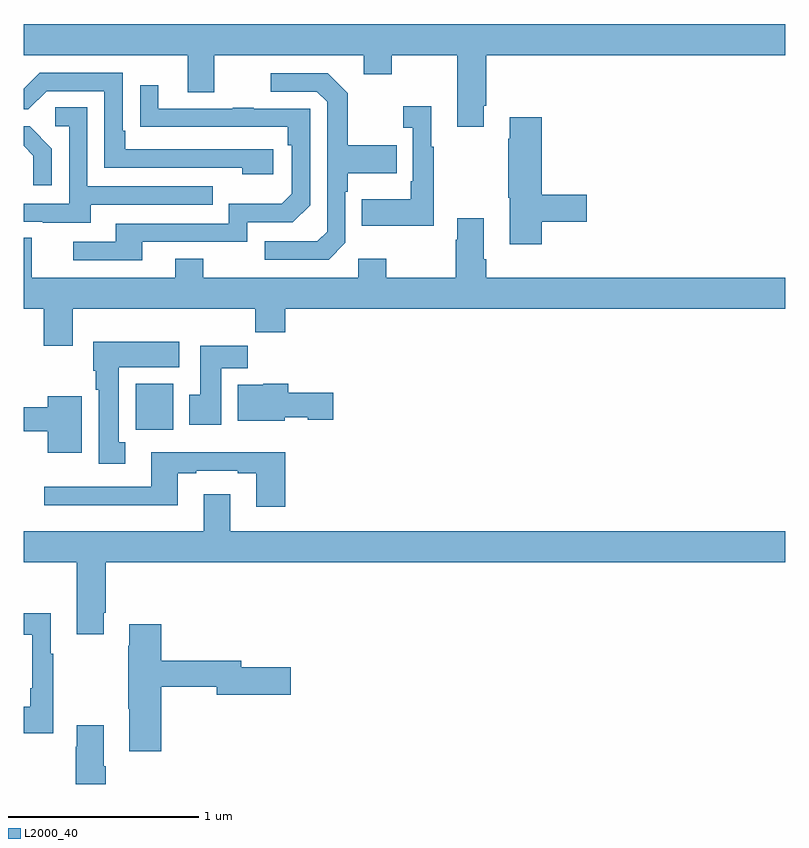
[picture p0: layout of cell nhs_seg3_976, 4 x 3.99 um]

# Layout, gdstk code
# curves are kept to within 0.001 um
import gdstk
lib = gdstk.Library(unit=1e-6, precision=1e-09)
def R(c, l, rs):  # rectangles x0, y0, x1, y1
    for r in rs: c.add(gdstk.rectangle(r[:2], r[2:], *l))
def P(c, l, *ps):  # polygons
    for p in ps: c.add(gdstk.Polygon(p, *l))
L2000_40 = (2000, 40)

nhs_seg3_976 = lib.new_cell('nhs_seg3_976')
R(nhs_seg3_976, L2000_40, [(161.588,720.26,161.785,720.502)])
P(nhs_seg3_976, L2000_40, [(163.417,721.963),(163.43,721.963),(163.43,722.228),(165,722.228),(165,722.392),(161,722.392),(161,722.228),(161.861,722.228),(161.861,722.034),(162.001,722.034),(162.001,722.228),(162.785,722.228),(162.785,722.129),(162.933,722.129),(162.933,722.228),(163.277,722.228),(163.277,721.851),(163.417,721.851)],
  [(162.31,721.734),(161.533,721.734),(161.533,721.831),(161.52,721.831),(161.52,722.136),(161.085,722.136),(161,722.051),(161,721.944),(161.025,721.944),(161.121,722.04),(161.424,722.04),(161.424,721.638),(162.149,721.638),(162.149,721.604),(162.31,721.604)],
  [(162.69,721.242),(162.69,721.511),(162.703,721.511),(162.703,721.607),(162.959,721.607),(162.959,721.755),(162.703,721.755),(162.703,722.027),(162.597,722.133),(162.297,722.133),(162.297,722.037),(162.54,722.037),(162.594,721.983),(162.594,721.302),(162.543,721.251),(162.267,721.251),(162.267,721.155),(162.603,721.155)],
  [(161.623,721.248),(162.174,721.248),(162.174,721.35),(162.414,721.35),(162.504,721.44),(162.504,721.947),(162.209,721.947),(162.209,721.952),(162.097,721.952),(162.097,721.947),(161.707,721.947),(161.707,722.071),(161.611,722.071),(161.611,721.852),(162.388,721.851),(162.388,721.754),(162.408,721.754),(162.408,721.5),(162.355,721.447),(162.078,721.447),(162.078,721.344),(161.483,721.344),(161.483,721.248),(161.259,721.248),(161.259,721.152),(161.623,721.152)],
  [(163.153,721.747),(163.141,721.747),(163.141,721.96),(162.993,721.96),(162.993,721.847),(163.044,721.847),(163.044,721.567),(163.032,721.567),(163.032,721.471),(162.775,721.471),(162.775,721.331),(163.153,721.331)],
  [(161.353,721.443),(161.993,721.443),(161.993,721.539),(161.334,721.539),(161.334,721.955),(161.166,721.955),(161.166,721.854),(161.238,721.854),(161.238,721.449),(161,721.449),(161,721.353),(161.099,721.353),(161.099,721.349),(161.353,721.349)],
  [(163.721,721.354),(163.957,721.354),(163.957,721.496),(163.721,721.496),(163.721,721.903),(163.553,721.903),(163.553,721.79),(163.546,721.79),(163.546,721.479),(163.553,721.479),(163.553,721.236),(163.721,721.236)],
  [(161.148,721.738),(161.032,721.854),(161,721.854),(161,721.752),(161.051,721.701),(161.051,721.545),(161.148,721.545)],
  [(161,721.268),(161,720.896),(161.105,720.896),(161.105,720.702),(161.257,720.702),(161.257,720.896),(162.217,720.896),(162.217,720.772),(162.374,720.772),(162.374,720.896),(165,720.896),(165,721.06),(163.43,721.06),(163.43,721.156),(163.417,721.156),(163.417,721.372),(163.277,721.372),(163.277,721.259),(163.27,721.259),(163.27,721.06),(162.903,721.06),(162.903,721.159),(162.756,721.159),(162.756,721.06),(161.943,721.06),(161.943,721.159),(161.795,721.159),(161.795,721.06),(161.041,721.06),(161.041,721.268)],
  [(161.533,720.194),(161.5,720.194),(161.5,720.59),(161.818,720.59),(161.818,720.724),(161.366,720.724),(161.366,720.57),(161.378,720.57),(161.378,720.47),(161.393,720.47),(161.393,720.081),(161.533,720.081)],
  [(162.037,720.584),(162.176,720.584),(162.176,720.703),(161.927,720.703),(161.927,720.444),(161.87,720.444),(161.87,720.288),(162.037,720.288)],
  [(162.372,720.326),(162.492,720.326),(162.492,720.314),(162.625,720.314),(162.625,720.456),(162.389,720.456),(162.389,720.502),(162.258,720.502),(162.258,720.496),(162.125,720.496),(162.125,720.308),(162.372,720.308)],
  [(161.305,720.436),(161.126,720.436),(161.126,720.38),(161,720.38),(161,720.252),(161.126,720.252),(161.126,720.14),(161.305,720.14)],
  [(162.374,720.142),(161.669,720.142),(161.669,719.961),(161.109,719.961),(161.109,719.864),(161.809,719.864),(161.809,720.033),(161.905,720.033),(161.905,720.045),(162.125,720.045),(162.125,720.033),(162.221,720.033),(162.221,719.856),(162.374,719.856)],
  [(161.419,719.299),(161.432,719.299),(161.432,719.564),(165,719.564),(165,719.728),(162.085,719.728),(162.085,719.923),(161.945,719.923),(161.945,719.728),(161,719.728),(161,719.564),(161.279,719.564),(161.279,719.187),(161.419,719.187)],
  [(161.155,719.083),(161.143,719.083),(161.143,719.296),(161,719.296),(161,719.183),(161.046,719.183),(161.046,718.903),(161.034,718.903),(161.034,718.807),(161,718.807),(161,718.667),(161.155,718.667)],
  [(161.723,718.912),(162.014,718.912),(162.014,718.87),(162.403,718.87),(162.403,719.012),(162.142,719.012),(162.142,719.048),(161.723,719.048),(161.723,719.239),(161.555,719.239),(161.555,719.126),(161.548,719.126),(161.548,718.795),(161.555,718.795),(161.555,718.572),(161.723,718.572)],
  [(161.432,718.492),(161.419,718.492),(161.419,718.708),(161.279,718.708),(161.279,718.595),(161.272,718.595),(161.272,718.4),(161.432,718.4)])

lib.write_gds('nhs_seg3_976.gds')
